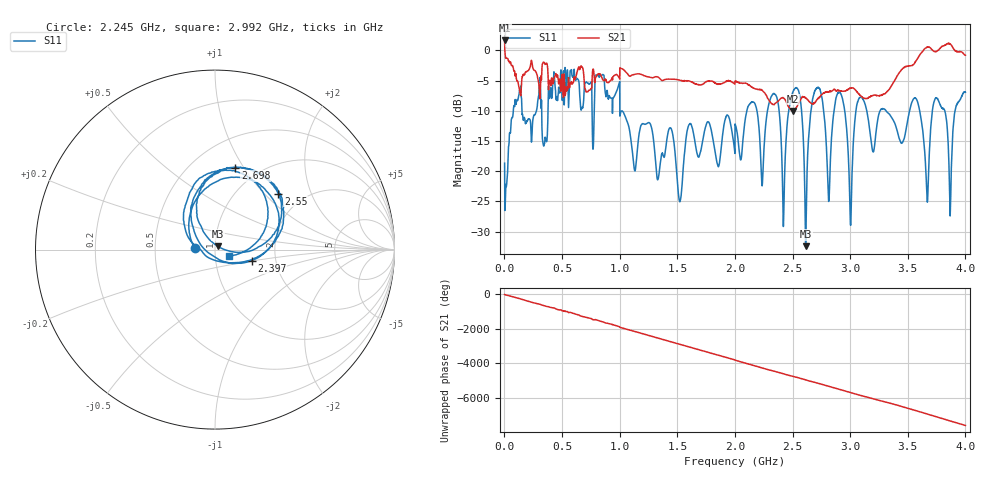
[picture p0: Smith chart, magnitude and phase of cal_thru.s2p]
!Created with skrf (http://scikit-rf.org).
# GHz S RI R 50.0
!freq ReS11 ImS11 ReS21 ImS21 ReS12 ImS12 ReS22 ImS22
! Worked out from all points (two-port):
!   4000 points, 1 MHz to 4 GHz, reference 50 ohm
!   highest |S21| = 1.66 dB at 1 MHz (marker M1); lowest = -10.0 dB at 2.503 GHz (marker M2)
!   |S21| within 3 dB of the highest: start of sweep to 28.1 MHz; 3.585 GHz to end of sweep
!   lowest |S11| = -32.4 dB at 2.613 GHz (marker M3), VSWR 1.05, Z = 51.6 + j1.85 ohm
!   |S11| at or under -10 dB: 151.7 MHz to 276.9 MHz (125.3 MHz wide, 58.5 % of centre); 1.001 GHz to 2.103 GHz (1.102 GHz wide, 71 % of centre); 3.312 GHz to 3.516 GHz (204.2 MHz wide, 5.98 % of centre) (the widest 3 of 15)
!   S12 and S22 are empty: the file has one direction only
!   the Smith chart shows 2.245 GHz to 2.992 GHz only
!   S11 on the Smith chart (normalised r, x): 2.245 GHz: 0.80, +0.01; 2.397 GHz: 1.50, -0.19; 2.55 GHz: 1.51, +1.21; 2.698 GHz: 0.78, +0.92; 2.992 GHz: 1.16, -0.09
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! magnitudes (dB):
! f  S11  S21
! 1 MHz  -18.7  1.7
! 125 MHz  -7.4  -6.0
! 668 MHz  -9.8  -2.6
! 1.334 GHz  -21.2  -4.4
! 2.001 GHz  -12.2  -5.1
! 2.245 GHz  -19.1  -6.8
! 2.397 GHz  -13.4  -8.0
! 2.503 GHz  -6.9  -10.0
! 2.55 GHz  -6.6  -8.9
! 2.613 GHz  -32.4  -7.9
! 2.667 GHz  -8.9  -8.8
! 2.698 GHz  -6.6  -8.6
! 2.814 GHz  -25.0  -6.9
! 2.924 GHz  -7.4  -6.7
! 2.992 GHz  -21.4  -6.3
! 3.078 GHz  -7.9  -7.3
! 3.334 GHz  -10.5  -6.5
! 3.574 GHz  -8.0  -1.7
! 3.668 GHz  -24.8  0.5
! 3.756 GHz  -8.0  -0.1
! 3.868 GHz  -27.4  1.1
! 4 GHz  -6.9  -0.8
